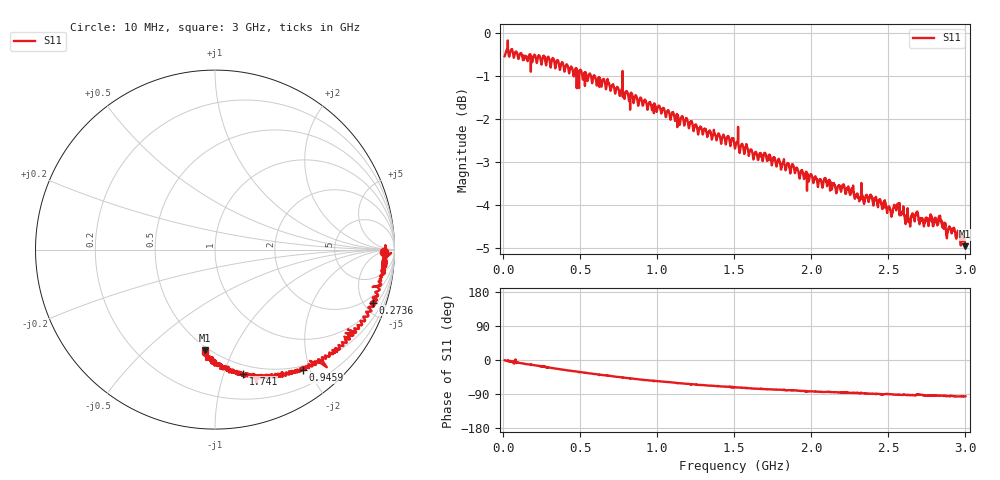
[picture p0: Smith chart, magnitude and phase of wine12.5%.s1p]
# HZ S RI R 50
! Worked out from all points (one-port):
!   2020 points, 10 MHz to 3 GHz, reference 50 ohm
!   lowest |S11| = -5.0 dB at 2.999 GHz (marker M1), VSWR 3.60, Z = 23.8 - j39.2 ohm
!   |S11| at or under -10 dB: nowhere
!   S11 on the Smith chart (normalised r, x): 10 MHz: 31, -7; 273.6 MHz: 1.35, -5.83; 945.9 MHz: 0.44, -1.89; 1.741 GHz: 0.42, -1.16; 3 GHz: 0.47, -0.79
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1e7  0.9406 -0.0132
4.554234e7  0.9477 -0.0472
5.887072e7  0.953 -0.0958
8.997027e7  0.9409 -0.1287
1.003368e8  0.9262 -0.1182
2.736057e8  0.8811 -0.2953
3.846755e8  0.8362 -0.3964
6.097771e8  0.6891 -0.5356
7.578702e8  0.5953 -0.6003
9.459484e8  0.4889 -0.67
1.132546e9  0.392 -0.7013
1.26731e9  0.3171 -0.6963
1.50574e9  0.2264 -0.6991
1.618291e9  0.1854 -0.7019
1.741208e9  0.155 -0.6921
1.878935e9  0.1251 -0.6927
1.9826e9  0.0882 -0.6662
2.25361e9  0.037 -0.648
2.45946e9  -0.00269 -0.6246
2.514254e9  -0.00349 -0.6217
2.554239e9  -0.0176 -0.627
2.626805e9  -0.0225 -0.6099
2.702333e9  -0.0188 -0.5988
2.74676e9  -0.0385 -0.6089
2.840059e9  -0.0432 -0.6035
2.943724e9  -0.0633 -0.579
2.998519e9  -0.057 -0.5621
3e9  -0.0566 -0.5639
